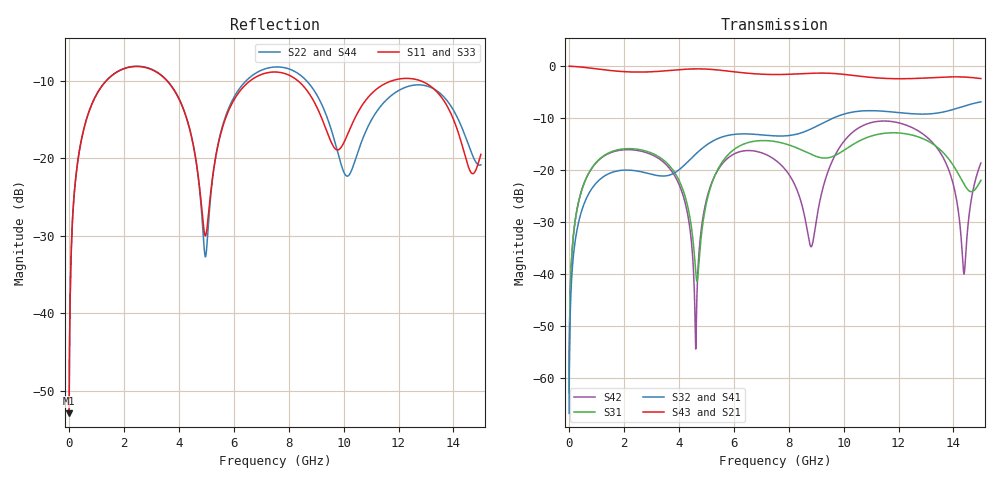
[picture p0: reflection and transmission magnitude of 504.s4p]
! Created with skrf 1.8.0 (http://scikit-rf.org).
# GHz S RI R 50.0
!freq ReS11 ImS11 ReS12 ImS12 ReS13 ImS13
! ReS14 ImS14
! ReS21 ImS21 ReS22 ImS22 ReS23 ImS23
! ReS24 ImS24
! ReS31 ImS31 ReS32 ImS32 ReS33 ImS33
! ReS34 ImS34
! ReS41 ImS41 ReS42 ImS42 ReS43 ImS43
! ReS44 ImS44
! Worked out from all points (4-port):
!   2499 points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, 5 MHz to 15 GHz, reference 50 ohm
!   strongest paths, dB at 5 MHz, 3.476 GHz, 7.19 GHz, 11.1 GHz, 15 GHz:
!     S43: 0.0, -0.9, -1.6, -2.2, -2.4
!     S21: 0.0, -0.9, -1.6, -2.2, -2.4
!     S32: -66.7, -21.1, -13.3, -8.6, -6.9
!     S41: -66.7, -21.1, -13.3, -8.6, -6.9
!     S31: -62.7, -18.2, -14.3, -13.3, -21.9
!     S42: -62.7, -18.6, -17.0, -10.7, -18.6
!   lowest |S11| = -52.9 dB at 5 MHz (marker M1), VSWR 1.00, Z = 50.2 + j0.137 ohm
!   |S11| at or under -10 dB: 3.566 GHz to 6.601 GHz (3.035 GHz wide, 59.7 % of centre); 8.333 GHz to 11.77 GHz (3.433 GHz wide, 34.2 % of centre); 12.8 GHz to end of sweep (the widest 3 of 4)
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0.005  0.0018 0.00137  0.9982 -0.00351  9.16e-05 0.000727  -8.88e-05 -0.000454
       0.9982 -0.00351  0.0018 0.00137  -8.88e-05 -0.000454  9.14e-05 0.000727
       9.16e-05 0.000727  -8.88e-05 -0.000454  0.0018 0.00137  0.9982 -0.00351
       -8.88e-05 -0.000454  9.14e-05 0.000727  0.9982 -0.00351  0.0018 0.00137
0.3126303  0.0282 0.0892  0.9613 -0.2174  0.0136 0.0426  -0.0111 -0.0262
           0.9613 -0.2174  0.0283 0.0892  -0.0111 -0.0262  0.013 0.0427
           0.0136 0.0426  -0.0111 -0.0262  0.0282 0.0892  0.9613 -0.2174
           -0.0111 -0.0262  0.013 0.0427  0.9613 -0.2174  0.0283 0.0892
1.519383  0.2915 0.1679  0.4977 -0.7572  0.1407 0.0507  -0.0942 0.00254
          0.4977 -0.7572  0.2936 0.1664  -0.0943 0.00261  0.1349 0.0596
          0.1407 0.0507  -0.0943 0.00261  0.2916 0.168  0.4977 -0.7572
          -0.0942 0.00254  0.1349 0.0596  0.4977 -0.7572  0.2937 0.1663
4.60817  0.0514 -0.087  -0.8942 -0.2918  -0.00878 -0.00693  -0.0402 0.1366
         -0.8942 -0.2918  0.0432 -0.0912  -0.0392 0.1369  -0.00174 -0.0012
         -0.00878 -0.00693  -0.0392 0.1369  0.0519 -0.0884  -0.894 -0.2919
         -0.0402 0.1366  -0.00174 -0.0012  -0.894 -0.2919  0.0437 -0.0926
5.627345  0.1008 0.1315  -0.8461 0.3216  0.0937 0.0826  0.0969 0.1868
          -0.8461 0.3216  0.0982 0.1387  0.0982 0.1863  0.0692 0.0969
          0.0937 0.0826  0.0982 0.1863  0.0999 0.1299  -0.8464 0.3216
          0.0969 0.1868  0.0692 0.0969  -0.8464 0.3216  0.0979 0.1373
9.997916  0.121 0.0308  0.8264 0.1094  -0.0828 0.1304  0.0413 -0.3419
          0.8264 0.1094  0.0727 -0.0384  0.0381 -0.3427  0.065 0.1758
          -0.0828 0.1304  0.0381 -0.3427  0.1179 0.0312  0.8268 0.1065
          0.0413 -0.3419  0.065 0.1758  0.8268 0.1065  0.0761 -0.0361
15  0.0932 0.0502  -0.7372 -0.1825  -0.034 0.0724  -0.0953 0.4438
    -0.7372 -0.1825  0.0907 -0.00111  -0.0848 0.4456  0.0535 0.1042
    -0.034 0.0724  -0.0848 0.4456  0.1029 0.0452  -0.7383 -0.1764
    -0.0953 0.4438  0.0535 0.1042  -0.7383 -0.1764  0.0851 -0.00769
